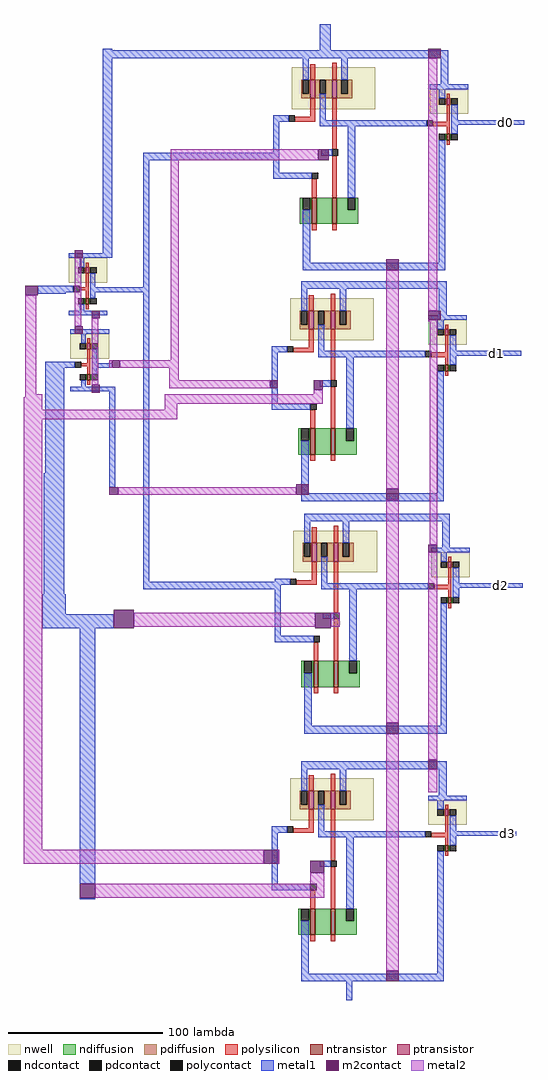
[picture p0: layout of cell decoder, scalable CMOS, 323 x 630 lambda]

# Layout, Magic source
magic
tech scmos
<< metal1 >>
rect -35 189 -29 190
rect -35 184 99 189
rect 105 187 112 206
rect -35 55 -29 184
rect 211 141 237 144
rect -9 118 78 123
rect -77 33 -55 37
rect -9 36 -5 118
rect -33 33 -5 36
rect -77 32 -59 33
rect -72 -16 -54 -12
rect -34 -16 -29 -13
rect -72 -84 -60 -16
rect -73 -162 -60 -84
rect -31 -93 -27 -28
rect -9 -154 -5 33
rect 209 -8 235 -5
rect -9 -159 79 -154
rect 210 -158 236 -155
rect -74 -175 -59 -162
rect -74 -184 -28 -175
rect -50 -349 -40 -184
rect 206 -318 232 -315
rect -50 -359 -40 -358
rect 122 -424 126 -410
<< m2contact >>
rect 175 184 183 190
rect -53 55 -48 60
rect 104 118 111 125
rect -85 31 -77 37
rect 148 47 156 54
rect -42 16 -37 21
rect -53 6 -48 11
rect -29 -16 -24 -11
rect -42 -32 -37 -27
rect -31 -98 -25 -93
rect 175 15 183 21
rect 73 -29 78 -24
rect 101 -30 107 -24
rect 90 -98 98 -91
rect 148 -101 156 -94
rect 175 -135 181 -130
rect -28 -184 -15 -172
rect 102 -184 112 -174
rect 148 -252 156 -245
rect 175 -275 181 -269
rect 69 -336 78 -327
rect 99 -342 108 -334
rect -50 -358 -40 -349
rect 148 -412 156 -405
<< metal2 >>
rect 9 118 104 125
rect -85 -33 -78 31
rect -53 11 -49 55
rect -42 -27 -38 16
rect 9 -11 14 118
rect -31 -16 -29 -11
rect -24 -16 14 -11
rect 8 -24 14 -16
rect 8 -29 73 -24
rect 101 -33 107 -30
rect -85 -35 -74 -33
rect -86 -43 -74 -35
rect 5 -39 107 -33
rect 5 -43 13 -39
rect -86 -49 13 -43
rect -86 -327 -74 -49
rect -25 -98 90 -93
rect 148 -94 156 47
rect 175 21 181 184
rect 175 14 181 15
rect -15 -183 102 -174
rect 112 -183 118 -174
rect 148 -245 156 -101
rect 176 -130 181 14
rect -86 -336 69 -327
rect 78 -336 79 -327
rect 99 -349 108 -342
rect -40 -358 108 -349
rect 148 -405 156 -252
rect 175 -269 181 -135
rect 175 -290 181 -275
use NOT  NOT_0
transform 1 0 -47 0 1 -11
box -9 -20 16 20
use NOT  NOT_1
transform 1 0 -48 0 1 38
box -9 -20 16 20
use AND  AND_0
transform 1 0 135 0 1 143
box -60 -96 78 46
use AND  AND_1
transform 1 0 134 0 1 -6
box -60 -96 78 46
use AND  AND_2
transform 1 0 136 0 1 -156
box -60 -96 78 46
use AND  AND_3
transform 1 0 134 0 1 -316
box -60 -96 78 46
<< labels >>
rlabel metal1 224 -318 228 -315 1 d3
rlabel metal1 220 -158 224 -155 1 d2
rlabel metal1 217 -8 221 -5 1 d1
rlabel metal1 223 141 227 144 1 d0
<< end >>

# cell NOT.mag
magic
tech scmos
<< nwell >>
rect -9 1 16 17
<< ntransistor >>
rect 2 -13 4 -9
<< ptransistor >>
rect 2 7 4 11
<< ndiffusion >>
rect 1 -13 2 -9
rect 4 -13 5 -9
<< pdiffusion >>
rect 1 7 2 11
rect 4 7 5 11
<< ndcontact >>
rect -3 -13 1 -9
rect 5 -13 9 -9
<< pdcontact >>
rect -3 7 1 11
rect 5 7 9 11
<< polysilicon >>
rect 2 11 4 14
rect 2 -2 4 7
rect -2 -4 4 -2
rect 2 -9 4 -4
rect 2 -16 4 -13
<< polycontact >>
rect -6 -5 -2 -1
<< metal1 >>
rect -9 17 16 20
rect -2 11 1 17
rect -8 -5 -6 -1
rect 5 -2 8 7
rect 5 -5 16 -2
rect 5 -9 8 -5
rect -2 -17 1 -13
rect -9 -20 16 -17
<< end >>

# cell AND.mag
magic
tech scmos
<< nwell >>
rect -48 8 6 35
rect 41 5 66 21
<< ntransistor >>
rect 52 -12 54 -8
rect -35 -66 -32 -49
rect -22 -66 -19 -49
<< ptransistor >>
rect -36 15 -33 27
rect -22 15 -19 27
rect 52 11 54 15
<< ndiffusion >>
rect 51 -12 52 -8
rect 54 -12 55 -8
rect -43 -57 -41 -49
rect -36 -57 -35 -49
rect -43 -66 -35 -57
rect -32 -66 -22 -49
rect -19 -57 -12 -49
rect -7 -57 -5 -49
rect -19 -66 -5 -57
<< pdiffusion >>
rect -42 18 -41 27
rect -37 18 -36 27
rect -42 15 -36 18
rect -33 18 -30 27
rect -26 18 -22 27
rect -33 15 -22 18
rect -19 18 -16 27
rect -12 18 -9 27
rect -19 15 -9 18
rect 51 11 52 15
rect 54 11 55 15
<< ndcontact >>
rect 47 -12 51 -8
rect 55 -12 59 -8
rect -41 -57 -36 -49
rect -12 -57 -7 -49
<< pdcontact >>
rect -41 18 -37 27
rect -30 18 -26 27
rect -16 18 -12 27
rect 47 11 51 15
rect 55 11 59 15
<< polysilicon >>
rect -36 27 -33 37
rect -22 27 -19 38
rect 52 15 54 18
rect -36 3 -33 15
rect -46 0 -33 3
rect -22 -18 -19 15
rect 52 0 54 11
rect 43 -3 54 0
rect 52 -8 54 -3
rect 52 -15 54 -12
rect -35 -49 -32 -37
rect -22 -49 -19 -22
rect -35 -70 -32 -66
rect -22 -70 -19 -66
<< polycontact >>
rect -50 0 -46 4
rect 39 -3 43 1
rect -22 -22 -18 -18
rect -35 -37 -31 -33
<< metal1 >>
rect -41 41 53 46
rect -41 27 -37 41
rect -16 27 -12 41
rect 48 24 53 41
rect 41 21 66 24
rect -60 0 -50 4
rect -30 1 -26 18
rect 47 15 51 21
rect 55 1 59 11
rect -60 -33 -56 0
rect -30 -3 39 1
rect 55 -2 78 1
rect -29 -22 -22 -18
rect -60 -37 -35 -33
rect -12 -49 -7 -3
rect 55 -8 59 -2
rect -41 -91 -36 -57
rect 47 -91 51 -12
rect -41 -96 51 -91
<< end >>
